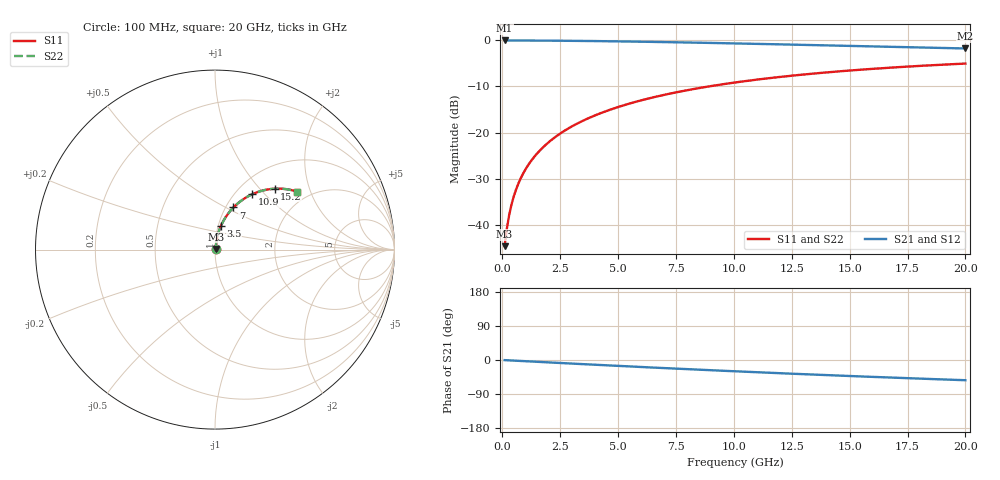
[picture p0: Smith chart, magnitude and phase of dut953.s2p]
! Touchstone file exported from HFSS 2026.1.0
!  File:  C:/ffzhzh/LocalFiles/Ansys_Project_Files/temp_train_BSMRDL_953_1783172287_51560.aedt
!  Generated:  09:39:31 PM Jul  4, 2026
!  Design:  BSMRDL
!  Project:  temp_train_BSMRDL_953_1783172287_51560
! Variables:
!  h_bsmrdl = 5.04um
!  h_ox = 20um
!  h_rdl = 5um
!  h_sub = 80um
!  h_tmrdl = 5um
!  h_tsv = 80um
!  h_via = 3um
!  l_bsmrdl = 757.17um
!  l_sub = 1157.17um
!  l_tmrdl = 200um
!  m_sub = 200um
!  pitch = 51.23um
!  r_tsv = 6um
!  s_tmrdl = 10um
!  w_bsmrdl = 12.66um
!  w_sub = 500um
!  w_tmrdl = 12um
!  x_tsv_center1 = 206um
!  x_tsv_center2 = 975.83um
!  x_tsv_center3 = 1187.83um
!  x_tsv_center4 = 1957.66um
!  x_tsv_center5 = 2169.66um
!  x_tsv_center6 = 2939.49um
# GHz S MA R 50.000000
! Terminal data exported
! Port[1] = BSM_RDL1_1_T1
! Port[2] = BSM_RDL1_1_T2
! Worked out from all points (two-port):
!   200 points, 100 MHz to 20 GHz, reference 50 ohm
!   highest |S21| = -0.04 dB at 100 MHz (marker M1); lowest = -1.8 dB at 20 GHz (marker M2)
!   |S21| within 3 dB of the highest: start of sweep to end of sweep
!   lowest |S11| = -44.6 dB at 100 MHz (marker M3), VSWR 1.01, Z = 50.4 + j0.409 ohm
!   |S11| at or under -10 dB: start of sweep to 8.921 GHz
!   |S22| runs from -44.6 to -5.0 dB; largest |S21 - S12| = 6.2e-15
!   S11 on the Smith chart (normalised r, x): 100 MHz: 1.01, +0.01; 3.5 GHz: 1.03, +0.27; 7 GHz: 1.09, +0.55; 10.9 GHz: 1.19, +0.85; 15.2 GHz: 1.38, +1.21; 20 GHz: 1.72, +1.62
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0.1  0.005873 43.6  0.9958 -0.3  0.9958 -0.3  0.005873 43.6
! Gamma 0 0 0 0
! Port Impedance 50 0 50 0
0.2  0.00919 61.4  0.9957 -0.6  0.9957 -0.6  0.00919 61.4
0.3  0.01289 69.0  0.9955 -1.0  0.9955 -1.0  0.01289 69.0
0.4  0.01668 73.0  0.9954 -1.3  0.9954 -1.3  0.01668 73.0
0.5  0.02051 75.4  0.9952 -1.6  0.9952 -1.6  0.02051 75.4
0.6  0.02436 77.0  0.995 -1.9  0.995 -1.9  0.02436 77.0
0.8  0.03208 78.8  0.9947 -2.6  0.9947 -2.6  0.03208 78.8
1.1  0.0437 79.9  0.9941 -3.5  0.9941 -3.5  0.0437 79.9
1.5  0.05919 80.1  0.993 -4.8  0.993 -4.8  0.05919 80.1
2.1  0.08229 79.4  0.9909 -6.7  0.9909 -6.7  0.08229 79.4
2.7  0.1051 78.1  0.9882 -8.5  0.9882 -8.5  0.1051 78.1
3.5  0.135 76.0  0.9838 -11.0  0.9838 -11.0  0.135 76.0
5  0.189 71.9  0.9735 -15.5  0.9735 -15.5  0.189 71.9
6.8  0.25 66.9  0.9581 -20.8  0.9581 -20.8  0.25 66.9
7  0.2565 66.3  0.9563 -21.4  0.9563 -21.4  0.2565 66.3
8.5  0.3036 62.3  0.9415 -25.6  0.9415 -25.6  0.3036 62.3
10.1  0.3503 58.1  0.9246 -29.9  0.9246 -29.9  0.3503 58.1
10.9  0.3722 56.0  0.9157 -32.1  0.9157 -32.1  0.3722 56.0
13.4  0.4348 49.9  0.8874 -38.4  0.8874 -38.4  0.4348 49.9
15.2  0.4744 45.7  0.8669 -42.7  0.8669 -42.7  0.4744 45.6
16.7  0.504 42.3  0.8501 -46.2  0.8501 -46.2  0.504 42.3
20  0.5593 35.3  0.8153 -53.3  0.8153 -53.3  0.5593 35.3
